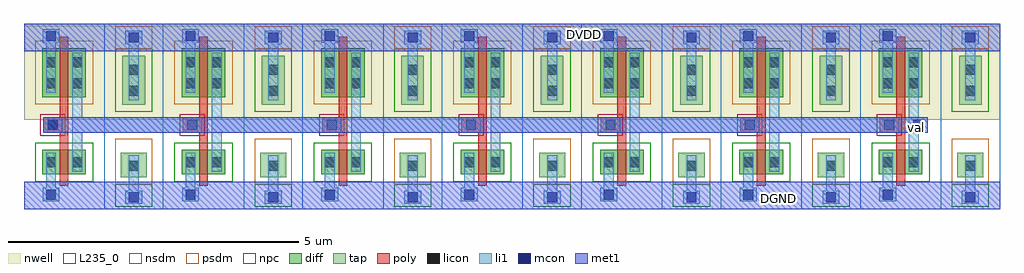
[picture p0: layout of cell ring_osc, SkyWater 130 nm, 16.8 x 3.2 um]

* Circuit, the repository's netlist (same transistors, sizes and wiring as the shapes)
** sch_path: /home/global/EE23B038/tutorial_6/6.2/ring_osc.sch
.subckt ring_osc DVDD val DGND
*.PININFO DGND:B DVDD:B val:B
XM1 net1 val DGND DGND sky130_fd_pr__nfet_01v8 L=0.15 W=0.42 nf=1 m=1
XM2 net1 val DVDD DVDD sky130_fd_pr__pfet_01v8 L=0.15 W=0.84 nf=1 m=1
XM3 net2 net1 DGND DGND sky130_fd_pr__nfet_01v8 L=0.15 W=0.42 nf=1 m=1
XM4 net2 net1 DVDD DVDD sky130_fd_pr__pfet_01v8 L=0.15 W=0.84 nf=1 m=1
XM5 net3 net2 DGND DGND sky130_fd_pr__nfet_01v8 L=0.15 W=0.42 nf=1 m=1
XM6 net3 net2 DVDD DVDD sky130_fd_pr__pfet_01v8 L=0.15 W=0.84 nf=1 m=1
XM7 net4 net3 DGND DGND sky130_fd_pr__nfet_01v8 L=0.15 W=0.42 nf=1 m=1
XM8 net4 net3 DVDD DVDD sky130_fd_pr__pfet_01v8 L=0.15 W=0.84 nf=1 m=1
XM9 net5 net4 DGND DGND sky130_fd_pr__nfet_01v8 L=0.15 W=0.42 nf=1 m=1
XM10 net5 net4 DVDD DVDD sky130_fd_pr__pfet_01v8 L=0.15 W=0.84 nf=1 m=1
XM11 net6 net5 DGND DGND sky130_fd_pr__nfet_01v8 L=0.15 W=0.42 nf=1 m=1
XM12 net6 net5 DVDD DVDD sky130_fd_pr__pfet_01v8 L=0.15 W=0.84 nf=1 m=1
XM13 val net6 DGND DGND sky130_fd_pr__nfet_01v8 L=0.15 W=0.42 nf=1 m=1
XM14 val net6 DVDD DVDD sky130_fd_pr__pfet_01v8 L=0.15 W=0.84 nf=1 m=1
.ends
.end

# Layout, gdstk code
import gdstk
lib = gdstk.Library(unit=1e-6, precision=1e-09)
def R(c, l, rs):  # rectangles x0, y0, x1, y1
    for r in rs: c.add(gdstk.rectangle(r[:2], r[2:], *l))
def A(c, l, x, y, w, h, nx, ny, dx, dy):  # array of equal rectangles
    R(c, l, [(x+i*dx, y+j*dy, x+i*dx+w, y+j*dy+h) for i in range(nx) for j in range(ny)])
nwell = (64, 20)
diff = (65, 20)
tap = (65, 44)
poly = (66, 20)
licon = (66, 44)
li1 = (67, 20)
mcon = (67, 44)
met1 = (68, 20)
nsdm = (93, 44)
psdm = (94, 20)
npc = (95, 20)
L235_0 = (235, 0)

vias_gen = lib.new_cell('vias_gen')
R(vias_gen, li1, [(0,0,0.29,0.23)])
R(vias_gen, mcon, [(0.06,0.03,0.23,0.2)])
R(vias_gen, met1, [(0,0,0.29,0.23)])

tap_ = lib.new_cell('tap')
R(tap_, nwell, [(-1.455,0.92,-0.435,2.525)])
R(tap_, tap, [(-1.17,-0.07,-0.72,0.35), (-1.14,1.18,-0.75,2.02)])
R(tap_, licon, [(-1.03,0.04,-0.86,0.21), (-1.03,1.335,-0.86,1.505), (-1.03,1.695,-0.86,1.865)])
R(tap_, li1, [(-1.03,-0.3,-0.86,-0.025), (-1.03,-0.025,-0.86,0.305), (-1.03,1.255,-0.86,1.945), (-1.03,1.945,-0.86,2.25)])
R(tap_, met1, [(-1.455,-0.625,-0.435,-0.145), (-1.455,2.095,-0.435,2.575)])
R(tap_, nsdm, [(-1.265,-0.575,-0.625,-0.195), (-1.265,1.055,-0.625,2.145)])
R(tap_, psdm, [(-1.265,-0.195,-0.625,0.59), (-1.265,2.145,-0.625,2.525)])
R(tap_, L235_0, [(-1.455,-0.625,-0.435,2.575)])
tap_.add(gdstk.Reference(vias_gen, (-1.09,-0.53)))
tap_.add(gdstk.Reference(vias_gen, (-1.09,2.22)))

pfet = lib.new_cell('pfet')
R(pfet, nwell, [(-0.315,-0.39,1.065,1.23)])
R(pfet, diff, [(0,0,0.75,0.84)])
R(pfet, poly, [(0.3,-0.2,0.45,1.04)])
R(pfet, licon, [(0.065,0.155,0.235,0.325), (0.515,0.155,0.685,0.325), (0.065,0.515,0.235,0.685), (0.515,0.515,0.685,0.685)])
R(pfet, li1, [(0.065,0.075,0.235,0.765), (0.515,0.075,0.685,0.765)])
R(pfet, psdm, [(-0.125,-0.125,0.875,0.965)])

nfet = lib.new_cell('nfet')
R(nfet, diff, [(0,0,0.75,0.42)])
R(nfet, poly, [(0.3,-0.2,0.45,0.62)])
R(nfet, licon, [(0.065,0.125,0.235,0.295), (0.515,0.125,0.685,0.295)])
R(nfet, li1, [(0.065,0.045,0.235,0.375), (0.515,0.045,0.685,0.375)])
R(nfet, nsdm, [(-0.125,-0.125,0.875,0.545)])

vias_gen_1 = lib.new_cell('vias_gen$1')
R(vias_gen_1, li1, [(0,0,0.29,0.23)])
R(vias_gen_1, mcon, [(0.06,0.03,0.23,0.2)])
R(vias_gen_1, met1, [(0,0,0.29,0.23)])

vias_gen_2 = lib.new_cell('vias_gen$2')
R(vias_gen_2, poly, [(0,0,0.33,0.27)])
R(vias_gen_2, licon, [(0.08,0.05,0.25,0.22)])
R(vias_gen_2, li1, [(0,0,0.33,0.27)])
R(vias_gen_2, npc, [(-0.05,-0.05,0.38,0.32)])

vias_gen_3 = lib.new_cell('vias_gen$3')
R(vias_gen_3, li1, [(0,0,0.33,0.27)])
R(vias_gen_3, mcon, [(0.08,0.05,0.25,0.22)])
R(vias_gen_3, met1, [(0,0,0.33,0.27)])

ring_osc = lib.new_cell('ring_osc')
A(ring_osc, nwell, 0.68, 2.75, 1.02, 0.015, 7, 1, 2.4, 0)
A(ring_osc, poly, -0.085, 0.825, 0.15, 0.51, 7, 1, 2.4, 0)
A(ring_osc, li1, -0.32, -0.23, 0.17, 0.48, 7, 1, 2.4, 0)
A(ring_osc, li1, 0.13, 0.58, 0.17, 1.03, 7, 1, 2.4, 0)
A(ring_osc, li1, 0.3, 0.92, 1.73, 0.27, 6, 1, 2.4, 0)
A(ring_osc, li1, -0.32, 2.3, 0.17, 0.2, 7, 1, 2.4, 0)
A(ring_osc, met1, -0.7, -0.4, 1.38, 0.48, 7, 2, 2.4, 2.72)
R(ring_osc, met1, [(-0.37,0.92,14.53,1.19)])
ring_osc.add(gdstk.Reference(tap_, (2.135,0.225)))
ring_osc.add(gdstk.Reference(pfet, (-0.385,1.535)))
ring_osc.add(gdstk.Reference(nfet, (-0.385,0.205)))
ring_osc.add(gdstk.Reference(vias_gen_1, (-0.38,2.47)))
ring_osc.add(gdstk.Reference(vias_gen_1, (-0.38,-0.26)))
ring_osc.add(gdstk.Reference(vias_gen_2, (-0.37,0.92)))
ring_osc.add(gdstk.Reference(tap_, (4.535,0.225)))
ring_osc.add(gdstk.Reference(pfet, (2.015,1.535)))
ring_osc.add(gdstk.Reference(nfet, (2.015,0.205)))
ring_osc.add(gdstk.Reference(vias_gen_1, (2.02,2.47)))
ring_osc.add(gdstk.Reference(vias_gen_1, (2.02,-0.26)))
ring_osc.add(gdstk.Reference(vias_gen_2, (2.03,0.92)))
ring_osc.add(gdstk.Reference(tap_, (6.935,0.225)))
ring_osc.add(gdstk.Reference(pfet, (4.415,1.535)))
ring_osc.add(gdstk.Reference(nfet, (4.415,0.205)))
ring_osc.add(gdstk.Reference(vias_gen_1, (4.42,2.47)))
ring_osc.add(gdstk.Reference(vias_gen_1, (4.42,-0.26)))
ring_osc.add(gdstk.Reference(vias_gen_2, (4.43,0.92)))
ring_osc.add(gdstk.Reference(tap_, (9.335,0.225)))
ring_osc.add(gdstk.Reference(pfet, (6.815,1.535)))
ring_osc.add(gdstk.Reference(nfet, (6.815,0.205)))
ring_osc.add(gdstk.Reference(vias_gen_1, (6.82,2.47)))
ring_osc.add(gdstk.Reference(vias_gen_1, (6.82,-0.26)))
ring_osc.add(gdstk.Reference(vias_gen_2, (6.83,0.92)))
ring_osc.add(gdstk.Reference(tap_, (11.735,0.225)))
ring_osc.add(gdstk.Reference(pfet, (9.215,1.535)))
ring_osc.add(gdstk.Reference(nfet, (9.215,0.205)))
ring_osc.add(gdstk.Reference(vias_gen_1, (9.22,2.47)))
ring_osc.add(gdstk.Reference(vias_gen_1, (9.22,-0.26)))
ring_osc.add(gdstk.Reference(vias_gen_2, (9.23,0.92)))
ring_osc.add(gdstk.Reference(tap_, (14.135,0.225)))
ring_osc.add(gdstk.Reference(pfet, (11.615,1.535)))
ring_osc.add(gdstk.Reference(nfet, (11.615,0.205)))
ring_osc.add(gdstk.Reference(vias_gen_1, (11.62,2.47)))
ring_osc.add(gdstk.Reference(vias_gen_1, (11.62,-0.26)))
ring_osc.add(gdstk.Reference(vias_gen_2, (11.63,0.92)))
ring_osc.add(gdstk.Reference(tap_, (16.535,0.225)))
ring_osc.add(gdstk.Reference(pfet, (14.015,1.535)))
ring_osc.add(gdstk.Reference(nfet, (14.015,0.205)))
ring_osc.add(gdstk.Reference(vias_gen_1, (14.02,2.47)))
ring_osc.add(gdstk.Reference(vias_gen_1, (14.02,-0.26)))
ring_osc.add(gdstk.Reference(vias_gen_2, (14.03,0.92)))
ring_osc.add(gdstk.Reference(vias_gen_3, (14.53,0.92)))
ring_osc.add(gdstk.Reference(vias_gen_3, (-0.37,0.92)))
ring_osc.add(gdstk.Label('DGND', (12.28,-0.21), layer=68, texttype=5))
ring_osc.add(gdstk.Label('DVDD', (8.95,2.61), layer=68, texttype=5))
ring_osc.add(gdstk.Label('val', (14.66,1.015), layer=68, texttype=5))

lib.write_gds('ring_osc.gds')
